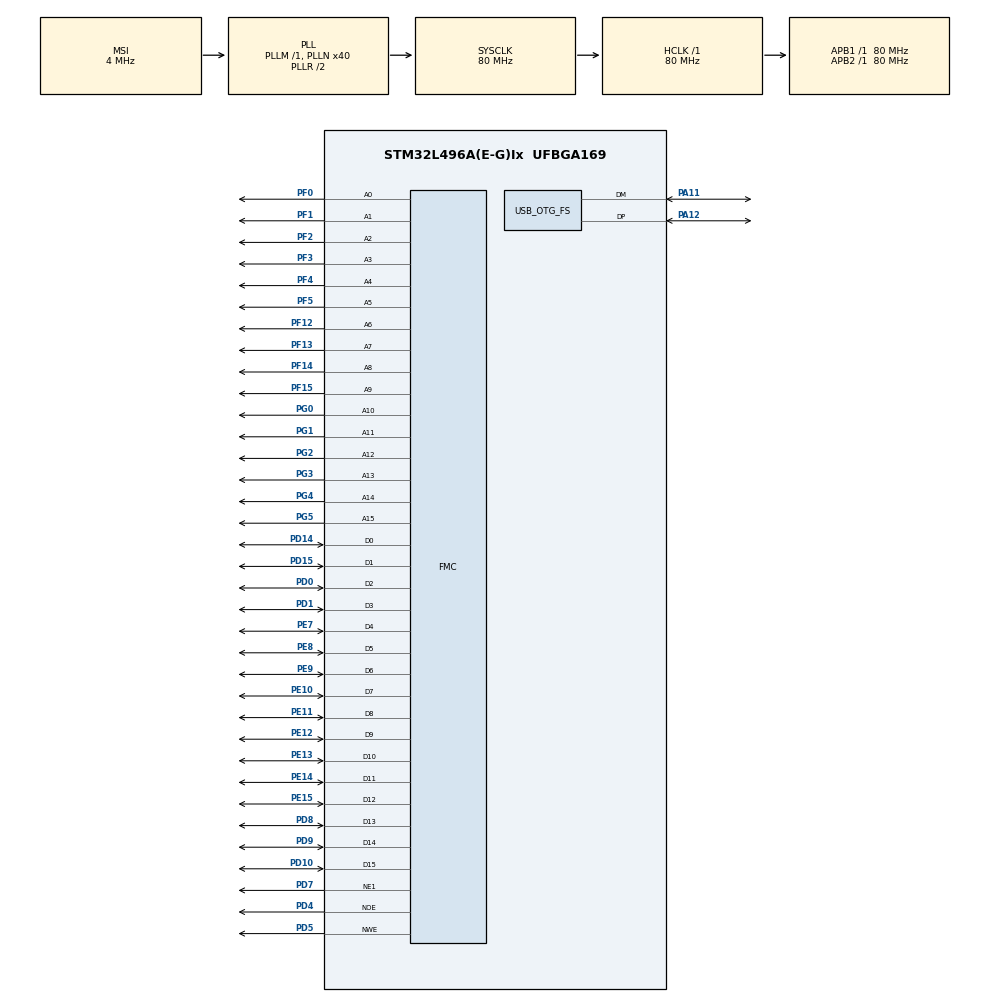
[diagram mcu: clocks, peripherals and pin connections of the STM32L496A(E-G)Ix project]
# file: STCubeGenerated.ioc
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Mcu.Family=STM32L4
Mcu.Name=STM32L496A(E-G)Ix
Mcu.Package=UFBGA169
NVIC.PriorityGroup=NVIC_PRIORITYGROUP_4
PA11.Mode=Host_Only
PA11.Signal=USB_OTG_FS_DM
PA12.Mode=Host_Only
PA12.Signal=USB_OTG_FS_DP
PD0.Signal=FMC_D2_DA2
PD1.Signal=FMC_D3_DA3
PD10.Signal=FMC_D15_DA15
PD14.Signal=FMC_D0_DA0
PD15.Signal=FMC_D1_DA1
PD4.Signal=FMC_NOE
PD5.Signal=FMC_NWE
PD7.Mode=NorPsramChipSelect1_1
PD7.Signal=FMC_NE1
PD8.Signal=FMC_D13_DA13
PD9.Signal=FMC_D14_DA14
PE10.Signal=FMC_D7_DA7
PE11.Signal=FMC_D8_DA8
PE12.Signal=FMC_D9_DA9
PE13.Signal=FMC_D10_DA10
PE14.Signal=FMC_D11_DA11
PE15.Signal=FMC_D12_DA12
PE7.Signal=FMC_D4_DA4
PE8.Signal=FMC_D5_DA5
PE9.Signal=FMC_D6_DA6
PF0.Signal=FMC_A0
PF1.Signal=FMC_A1
PF12.Signal=FMC_A6
PF13.Signal=FMC_A7
PF14.Signal=FMC_A8
PF15.Signal=FMC_A9
PF2.Signal=FMC_A2
PF3.Signal=FMC_A3
PF4.Signal=FMC_A4
PF5.Signal=FMC_A5
PG0.Signal=FMC_A10
PG1.Signal=FMC_A11
PG2.Signal=FMC_A12
PG3.Signal=FMC_A13
PG4.Signal=FMC_A14
PG5.Signal=FMC_A15
ProjectManager.HeapSize=0x200
ProjectManager.StackSize=0x400
ProjectManager.TargetToolchain=Makefile
RCC.ADCFreq_Value=48000000
RCC.AHBFreq_Value=80000000
RCC.APB1Freq_Value=80000000
RCC.APB1TimFreq_Value=80000000
RCC.APB2Freq_Value=80000000
RCC.APB2TimFreq_Value=80000000
RCC.CortexFreq_Value=80000000
RCC.HCLKFreq_Value=80000000
RCC.HSE_VALUE=8000000
RCC.HSI48_VALUE=48000000
RCC.HSI_VALUE=16000000
RCC.LSE_VALUE=32768
RCC.MSI_VALUE=4000000
RCC.PLLN=40
RCC.PLLSAI1N=24
RCC.SYSCLKFreq_VALUE=80000000
RCC.SYSCLKSource=RCC_SYSCLKSOURCE_PLLCLK
RCC.USBFreq_Value=48000000
RCC.VCOOutputFreq_Value=160000000
SH.FMC_A0.0=FMC_A0,16b-a1
SH.FMC_A1.0=FMC_A1,16b-a1
SH.FMC_A10.0=FMC_A10,16b-a1
SH.FMC_A11.0=FMC_A11,16b-a1
SH.FMC_A12.0=FMC_A12,16b-a1
SH.FMC_A13.0=FMC_A13,16b-a1
SH.FMC_A14.0=FMC_A14,16b-a1
SH.FMC_A15.0=FMC_A15,16b-a1
SH.FMC_A2.0=FMC_A2,16b-a1
SH.FMC_A3.0=FMC_A3,16b-a1
SH.FMC_A4.0=FMC_A4,16b-a1
SH.FMC_A5.0=FMC_A5,16b-a1
SH.FMC_A6.0=FMC_A6,16b-a1
SH.FMC_A7.0=FMC_A7,16b-a1
SH.FMC_A8.0=FMC_A8,16b-a1
SH.FMC_A9.0=FMC_A9,16b-a1
SH.FMC_D0_DA0.0=FMC_D0,16b-d1
SH.FMC_D10_DA10.0=FMC_D10,16b-d1
SH.FMC_D11_DA11.0=FMC_D11,16b-d1
SH.FMC_D12_DA12.0=FMC_D12,16b-d1
SH.FMC_D13_DA13.0=FMC_D13,16b-d1
SH.FMC_D14_DA14.0=FMC_D14,16b-d1
SH.FMC_D15_DA15.0=FMC_D15,16b-d1
SH.FMC_D1_DA1.0=FMC_D1,16b-d1
SH.FMC_D2_DA2.0=FMC_D2,16b-d1
SH.FMC_D3_DA3.0=FMC_D3,16b-d1
SH.FMC_D4_DA4.0=FMC_D4,16b-d1
SH.FMC_D5_DA5.0=FMC_D5,16b-d1
SH.FMC_D6_DA6.0=FMC_D6,16b-d1
SH.FMC_D7_DA7.0=FMC_D7,16b-d1
SH.FMC_D8_DA8.0=FMC_D8,16b-d1
SH.FMC_D9_DA9.0=FMC_D9,16b-d1
SH.FMC_NOE.0=FMC_NOE,Sram1
SH.FMC_NWE.0=FMC_NWE,Sram1
USB_OTG_FS.VirtualMode=Host_Only
USB_OTG_FS.phy_itface=HCD_PHY_EMBEDDED
board=STCubeGenerated

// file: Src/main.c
/* USER CODE BEGIN Header */
/**
  ******************************************************************************
  * @file           : main.c
  * @brief          : Main program body
  ******************************************************************************
  ** This notice applies to any and all portions of this file
  * that are not between comment pairs USER CODE BEGIN and
  * USER CODE END. Other portions of this file, whether
  * inserted by the user or by software development tools
  * are owned by their respective copyright owners.
  *
  * COPYRIGHT(c) 2018 STMicroelectronics
  *
  * Redistribution and use in source and binary forms, with or without modification,
  * are permitted provided that the following conditions are met:
  *   1. Redistributions of source code must retain the above copyright notice,
  *      this list of conditions and the following disclaimer.
  *   2. Redistributions in binary form must reproduce the above copyright notice,
  *      this list of conditions and the following disclaimer in the documentation
  *      and/or other materials provided with the distribution.
  *   3. Neither the name of STMicroelectronics nor the names of its contributors
  *      may be used to endorse or promote products derived from this software
  *      without specific prior written permission.
  *
  * THIS SOFTWARE IS PROVIDED BY THE COPYRIGHT HOLDERS AND CONTRIBUTORS "AS IS"
  * AND ANY EXPRESS OR IMPLIED WARRANTIES, INCLUDING, BUT NOT LIMITED TO, THE
  * IMPLIED WARRANTIES OF MERCHANTABILITY AND FITNESS FOR A PARTICULAR PURPOSE ARE
  * DISCLAIMED. IN NO EVENT SHALL THE COPYRIGHT HOLDER OR CONTRIBUTORS BE LIABLE
  * FOR ANY DIRECT, INDIRECT, INCIDENTAL, SPECIAL, EXEMPLARY, OR CONSEQUENTIAL
  * DAMAGES (INCLUDING, BUT NOT LIMITED TO, PROCUREMENT OF SUBSTITUTE GOODS OR
  * SERVICES; LOSS OF USE, DATA, OR PROFITS; OR BUSINESS INTERRUPTION) HOWEVER
  * CAUSED AND ON ANY THEORY OF LIABILITY, WHETHER IN CONTRACT, STRICT LIABILITY,
  * OR TORT (INCLUDING NEGLIGENCE OR OTHERWISE) ARISING IN ANY WAY OUT OF THE USE
  * OF THIS SOFTWARE, EVEN IF ADVISED OF THE POSSIBILITY OF SUCH DAMAGE.
  *
  ******************************************************************************
  */
/* USER CODE END Header */
#include "main.h"

/* USER CODE BEGIN Includes */
#include <stdbool.h>

#include "RTE_Components.h"

#include "stm32l496g_discovery.h"
#include "stm32l496g_discovery_io.h"

#include "MX_Device.h"

/* USB OTG host BSP dependant pins */
#define USBOTG_PPWR_GPIO_PIN            IO1_PIN_3
#define USBOTG_OC_GPIO_PIN              IO1_PIN_7

/* USER CODE END Includes */

HCD_HandleTypeDef hhcd_USB_OTG_FS;

SRAM_HandleTypeDef hsram1;

/* USER CODE BEGIN PV */
/* Private variables ---------------------------------------------------------*/

/* USER CODE END PV */

void SystemClock_Config(void);
static void MX_GPIO_Init(void);
static void MX_USB_OTG_FS_HCD_Init(void);
static void MX_FMC_Init(void);
/* USER CODE BEGIN PFP */
/* Private function prototypes -----------------------------------------------*/

/* USER CODE END PFP */

/* USER CODE BEGIN 0 */
/**
  \fn          void USBH_VbusOnOff (bool vbus)
  \brief       Drive VBUS on/off.
  \param[in]   vbus
                - \b false VBUS off
                - \b true  VBUS on
  \return      none
*/
void USBH_VbusOnOff (bool vbus) {
  if (vbus) {                           // VBUS power on
    BSP_IO_WritePin(USBOTG_PPWR_GPIO_PIN, GPIO_PIN_RESET);
  } else {                              // VBUS power off
    BSP_IO_WritePin(USBOTG_PPWR_GPIO_PIN, GPIO_PIN_SET);
  }
}

/**
  \fn          bool USBH_GetOC (void)
  \brief       Get port over-current status.
  \return      port over-current status
                - \b false port is not in over-current status
                - \b true  port is in over-current status
*/
bool USBH_GetOC (void) {
  if ((BSP_IO_ReadPin(USBOTG_OC_GPIO_PIN) & USBOTG_OC_GPIO_PIN) == 0U) {
    return true;
  }
  return false;
}

/**
  * Override default HAL_GetTick function
  */
uint32_t HAL_GetTick (void) {
  static uint32_t ticks = 0U;
         uint32_t i;

  if (osKernelGetState () == osKernelRunning) {
    return ((uint32_t)osKernelGetTickCount ());
  }

  /* If Kernel is not running wait approximately 1 ms then increment
     and return auxiliary tick counter value */
  for (i = (SystemCoreClock >> 14U); i > 0U; i--) {
    __NOP(); __NOP(); __NOP(); __NOP(); __NOP(); __NOP();
    __NOP(); __NOP(); __NOP(); __NOP(); __NOP(); __NOP();
  }
  return ++ticks;
}
/* USER CODE END 0 */

int main(void)
{

  /* MCU Configuration--------------------------------------------------------*/

  /* Reset of all peripherals, Initializes the Flash interface and the Systick. */
  HAL_Init();

  /* Configure the system clock */
  SystemClock_Config();

  /* USER CODE BEGIN SysInit */
  SystemCoreClockUpdate();

  /* Initialize the IO functionalities */
  BSP_IO_Init();

  /* Configure USB port power pin */
  BSP_IO_ConfigPin(USBOTG_PPWR_GPIO_PIN, IO_MODE_OUTPUT);

  /* Intitalize USB port power pin state as off */
  BSP_IO_WritePin(USBOTG_PPWR_GPIO_PIN, GPIO_PIN_SET);

  /* Configure USB over-current pin */
  BSP_IO_ConfigPin(USBOTG_OC_GPIO_PIN, IO_MODE_INPUT);
  /* USER CODE END SysInit */

  /* Initialize all configured peripherals */
  MX_GPIO_Init();
  MX_USB_OTG_FS_HCD_Init();
  MX_FMC_Init();
  /* USER CODE BEGIN 2 */

  /* Initialize CMSIS-RTOS2 */
  osKernelInitialize ();

  /* Create application main thread */
  osThreadNew(app_main, NULL, &app_main_attr);

  /* Start thread execution */
  osKernelStart();

  /* USER CODE END 2 */

  /* Infinite loop */
  while (1)
  {

  }
}

void SystemClock_Config(void)
{
  RCC_OscInitTypeDef RCC_OscInitStruct = {0};
  RCC_ClkInitTypeDef RCC_ClkInitStruct = {0};
  RCC_PeriphCLKInitTypeDef PeriphClkInit = {0};

  /** Initializes the RCC Oscillators according to the specified parameters
  * in the RCC_OscInitTypeDef structure.
  */
  RCC_OscInitStruct.OscillatorType = RCC_OSCILLATORTYPE_LSE|RCC_OSCILLATORTYPE_MSI;
  RCC_OscInitStruct.LSEState = RCC_LSE_OFF;
  RCC_OscInitStruct.MSIState = RCC_MSI_ON;
  RCC_OscInitStruct.MSICalibrationValue = 0;
  RCC_OscInitStruct.MSIClockRange = RCC_MSIRANGE_6;
  RCC_OscInitStruct.PLL.PLLState = RCC_PLL_ON;
  RCC_OscInitStruct.PLL.PLLSource = RCC_PLLSOURCE_MSI;
  RCC_OscInitStruct.PLL.PLLM = 1;
  RCC_OscInitStruct.PLL.PLLN = 40;
  RCC_OscInitStruct.PLL.PLLP = RCC_PLLP_DIV2;
  RCC_OscInitStruct.PLL.PLLQ = RCC_PLLQ_DIV2;
  RCC_OscInitStruct.PLL.PLLR = RCC_PLLR_DIV2;
  if (HAL_RCC_OscConfig(&RCC_OscInitStruct) != HAL_OK)
  {
    Error_Handler();
  }
  /** Initializes the CPU, AHB and APB buses clocks
  */
  RCC_ClkInitStruct.ClockType = RCC_CLOCKTYPE_HCLK|RCC_CLOCKTYPE_SYSCLK
                              |RCC_CLOCKTYPE_PCLK1|RCC_CLOCKTYPE_PCLK2;
  RCC_ClkInitStruct.SYSCLKSource = RCC_SYSCLKSOURCE_PLLCLK;
  RCC_ClkInitStruct.AHBCLKDivider = RCC_SYSCLK_DIV1;
  RCC_ClkInitStruct.APB1CLKDivider = RCC_HCLK_DIV1;
  RCC_ClkInitStruct.APB2CLKDivider = RCC_HCLK_DIV1;

  if (HAL_RCC_ClockConfig(&RCC_ClkInitStruct, FLASH_LATENCY_4) != HAL_OK)
  {
    Error_Handler();
  }
  PeriphClkInit.PeriphClockSelection = RCC_PERIPHCLK_USB;
  PeriphClkInit.UsbClockSelection = RCC_USBCLKSOURCE_PLLSAI1;
  PeriphClkInit.PLLSAI1.PLLSAI1Source = RCC_PLLSOURCE_MSI;
  PeriphClkInit.PLLSAI1.PLLSAI1M = 1;
  PeriphClkInit.PLLSAI1.PLLSAI1N = 24;
  PeriphClkInit.PLLSAI1.PLLSAI1P = RCC_PLLP_DIV2;
  PeriphClkInit.PLLSAI1.PLLSAI1Q = RCC_PLLQ_DIV2;
  PeriphClkInit.PLLSAI1.PLLSAI1R = RCC_PLLR_DIV2;
  PeriphClkInit.PLLSAI1.PLLSAI1ClockOut = RCC_PLLSAI1_48M2CLK;
  if (HAL_RCCEx_PeriphCLKConfig(&PeriphClkInit) != HAL_OK)
  {
    Error_Handler();
  }
  /** Configure the main internal regulator output voltage
  */
  if (HAL_PWREx_ControlVoltageScaling(PWR_REGULATOR_VOLTAGE_SCALE1) != HAL_OK)
  {
    Error_Handler();
  }
  /** Enable MSI Auto calibration
  */
  HAL_RCCEx_EnableMSIPLLMode();
}

static void MX_USB_OTG_FS_HCD_Init(void)
{

  hhcd_USB_OTG_FS.Instance = USB_OTG_FS;
  hhcd_USB_OTG_FS.Init.Host_channels = 12;
  hhcd_USB_OTG_FS.Init.speed = HCD_SPEED_FULL;
  hhcd_USB_OTG_FS.Init.dma_enable = DISABLE;
  hhcd_USB_OTG_FS.Init.phy_itface = HCD_PHY_EMBEDDED;
  hhcd_USB_OTG_FS.Init.Sof_enable = DISABLE;
  if (HAL_HCD_Init(&hhcd_USB_OTG_FS) != HAL_OK)
  {
    Error_Handler();
  }

}

/* FMC initialization function */
static void MX_FMC_Init(void)
{

  FMC_NORSRAM_TimingTypeDef Timing = {0};

  /** Perform the SRAM1 memory initialization sequence
  */
  hsram1.Instance = FMC_NORSRAM_DEVICE;
  hsram1.Extended = FMC_NORSRAM_EXTENDED_DEVICE;
  /* hsram1.Init */
  hsram1.Init.NSBank = FMC_NORSRAM_BANK1;
  hsram1.Init.DataAddressMux = FMC_DATA_ADDRESS_MUX_DISABLE;
  hsram1.Init.MemoryType = FMC_MEMORY_TYPE_SRAM;
  hsram1.Init.MemoryDataWidth = FMC_NORSRAM_MEM_BUS_WIDTH_16;
  hsram1.Init.BurstAccessMode = FMC_BURST_ACCESS_MODE_DISABLE;
  hsram1.Init.WaitSignalPolarity = FMC_WAIT_SIGNAL_POLARITY_LOW;
  hsram1.Init.WaitSignalActive = FMC_WAIT_TIMING_BEFORE_WS;
  hsram1.Init.WriteOperation = FMC_WRITE_OPERATION_DISABLE;
  hsram1.Init.WaitSignal = FMC_WAIT_SIGNAL_DISABLE;
  hsram1.Init.ExtendedMode = FMC_EXTENDED_MODE_DISABLE;
  hsram1.Init.AsynchronousWait = FMC_ASYNCHRONOUS_WAIT_DISABLE;
  hsram1.Init.WriteBurst = FMC_WRITE_BURST_DISABLE;
  hsram1.Init.ContinuousClock = FMC_CONTINUOUS_CLOCK_SYNC_ONLY;
  hsram1.Init.WriteFifo = FMC_WRITE_FIFO_ENABLE;
  hsram1.Init.PageSize = FMC_PAGE_SIZE_NONE;
  /* Timing */
  Timing.AddressSetupTime = 15;
  Timing.AddressHoldTime = 15;
  Timing.DataSetupTime = 255;
  Timing.BusTurnAroundDuration = 15;
  Timing.CLKDivision = 16;
  Timing.DataLatency = 17;
  Timing.AccessMode = FMC_ACCESS_MODE_A;
  /* ExtTiming */

  if (HAL_SRAM_Init(&hsram1, &Timing, NULL) != HAL_OK)
  {
    Error_Handler( );
  }

}

static void MX_GPIO_Init(void)
{

  /* GPIO Ports Clock Enable */
  __HAL_RCC_GPIOD_CLK_ENABLE();
  __HAL_RCC_GPIOA_CLK_ENABLE();
  __HAL_RCC_GPIOF_CLK_ENABLE();
  __HAL_RCC_GPIOG_CLK_ENABLE();
  __HAL_RCC_GPIOE_CLK_ENABLE();
  HAL_PWREx_EnableVddIO2();

}

void Error_Handler(void)
{
  while(1)
  {
  }
}

/************************ (C) COPYRIGHT STMicroelectronics *****END OF FILE****/
